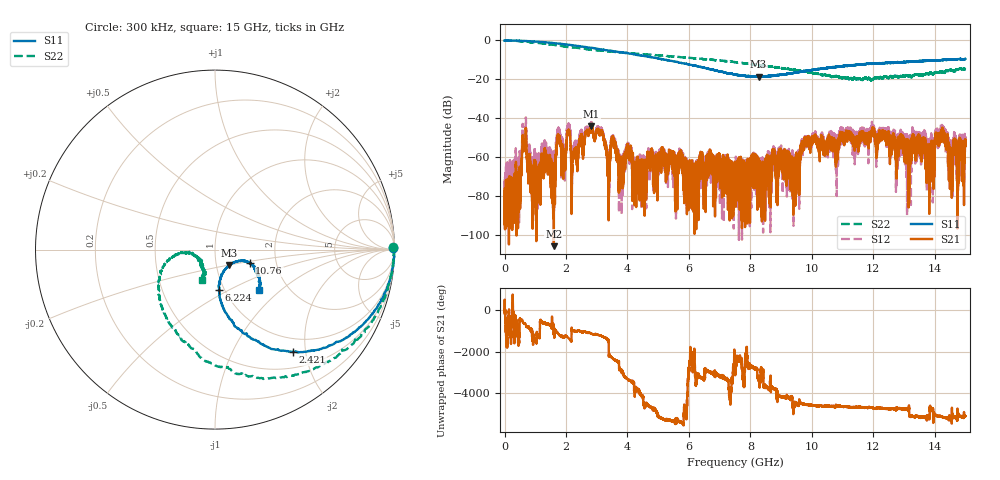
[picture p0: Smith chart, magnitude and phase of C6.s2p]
!Agilent Technologies,N5230C,SG49000117,A.08.50.07
!Agilent N5230C: A.08.50.07
!Date: Monday, December 11, 2023 23:05:45
!Correction: S11(Full 2 Port(1,2))
!S21(Full 2 Port(1,2))
!S12(Full 2 Port(1,2))
!S22(Full 2 Port(1,2))
!S2P File: Measurements: S11, S21, S12, S22:
# Hz S  RI  R 50
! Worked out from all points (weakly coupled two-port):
!   20001 points, 300 kHz to 15 GHz, reference 50 ohm
!   highest |S21| = -44.04 dB at 2.825 GHz (marker M1); lowest = -105.9 dB at 1.603 GHz (marker M2)
!   lowest |S11| = -18.7 dB at 8.268 GHz (marker M3), VSWR 1.26, Z = 57.3 - j10.2 ohm
!   |S11| at or under -10 dB: 5.258 GHz to 14.23 GHz (8.972 GHz wide, 92.1 % of centre); 14.23001 GHz to 14.24844 GHz (18.43 MHz wide, 0.129 % of centre); 14.24862 GHz to 14.27237 GHz (23.75 MHz wide, 0.167 % of centre) (the widest 3 of 19)
!   |S22| runs from -20.6 to 0.0 dB; largest |S21 - S12| = 0.0053
!   S11 on the Smith chart (normalised r, x): 300 kHz: open; 2.421 GHz: 0.75, -1.77; 6.224 GHz: 0.95, -0.44; 10.76 GHz: 1.46, -0.23; 15 GHz: 1.43, -0.74
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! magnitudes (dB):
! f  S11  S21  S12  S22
! 300 kHz  -0.1  -77.8  -71.5  -0.1
! 455.5 MHz  -0.1  -75.7  -66.7  -0.3
! 642.3 MHz  -0.2  -54.9  -49.5  -0.5
! 888.3 MHz  -0.4  -71.4  -70.9  -0.9
! 1.603 GHz  -1.4  -105.9  -72.5  -2.2
! 1.758 GHz  -1.6  -49.4  -45.9  -2.7
! 2.421 GHz  -2.9  -53.9  -52.4  -3.9
! 2.501 GHz  -3.1  -48.9  -46.7  -4.0
! 2.825 GHz  -3.8  -44.0  -42.6  -4.8
! 3.371 GHz  -5.1  -67.9  -65.5  -5.6
! 3.551 GHz  -5.6  -54.0  -51.7  -5.9
! 3.783 GHz  -6.0  -62.1  -67.0  -6.1
! 5 GHz  -9.3  -61.7  -64.2  -7.7
! 6.224 GHz  -13.0  -73.4  -70.4  -9.3
! 6.665 GHz  -14.7  -59.9  -62.9  -9.8
! 7.5 GHz  -17.5  -70.9  -70.6  -11.2
! 8.268 GHz  -18.7  -64.5  -67.6  -12.7
! 9.41 GHz  -16.7  -73.0  -70.0  -15.1
! 10 GHz  -15.2  -50.9  -51.5  -16.5
! 10.76 GHz  -13.6  -55.4  -52.8  -18.5
! 12.5 GHz  -11.5  -48.8  -48.0  -19.1
! 15 GHz  -9.5  -51.6  -49.3  -14.6
